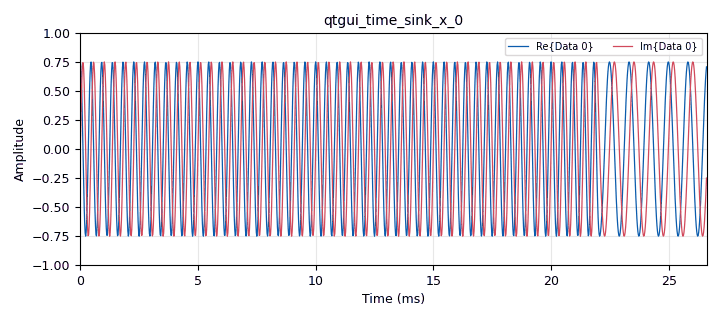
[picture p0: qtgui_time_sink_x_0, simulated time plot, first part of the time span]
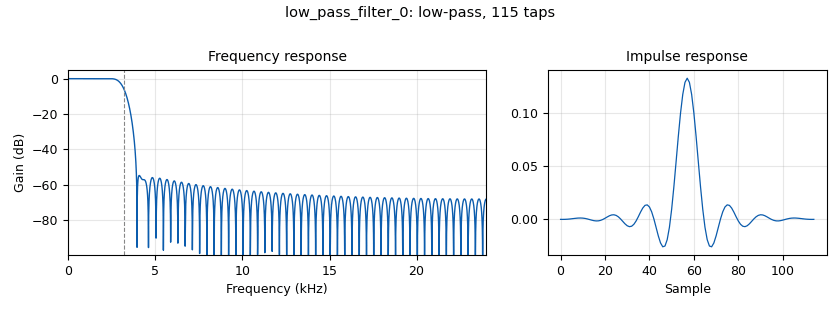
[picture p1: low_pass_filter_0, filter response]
options:
  parameters:
    author: Barry Duggan
    description: packet FSK xmt
    generate_options: qt_gui
    id: pkt_fsk_xmt
    output_language: python
    title: pkt_fsk_xmt
  states: {}

blocks:
- name: baud
  id: variable
  parameters:
    value: '48'
  states: {}
- name: center
  id: variable
  parameters:
    value: (mark+space)/2
  states: {}
- name: hdr_format
  id: variable_header_format_default
  parameters:
    access_code: '11100001010110101110100010010011'
    bps: repeat
    threshold: thresh
  states: {}
- name: inp_amp
  id: variable
  parameters:
    value: (mark/vco_max)-vco_offset
  states: {}
- name: mark
  id: variable
  parameters:
    value: '1200'
  states: {}
- name: repeat
  id: variable
  parameters:
    value: (int)(samp_rate/baud)
  states: {}
- name: rs_ratio
  id: variable
  parameters:
    value: '1.0'
  states: {}
- name: samp_rate
  id: variable
  parameters:
    value: '48000'
  states: {}
- name: space
  id: variable
  parameters:
    value: '2200'
  states: {}
- name: thresh
  id: variable
  parameters:
    value: '1'
  states: {}
- name: usrp_rate
  id: variable
  parameters:
    value: '768000'
  states: {}
- name: vco_max
  id: variable
  parameters:
    value: '2500'
  states: {}
- name: vco_offset
  id: variable
  parameters:
    value: space/vco_max
  states: {}
- name: blocks_add_const_vxx_0
  id: blocks_add_const_vxx
  parameters:
    comment: vco_offset
    const: vco_offset
    type: float
  states: {}
- name: blocks_message_strobe_0
  id: blocks_message_strobe
  parameters:
    msg: pmt.cons(pmt.PMT_NIL,pmt.init_u8vector(9,(71,78,85,32,82,97,100,105,111)))
    period: '5000'
  states: {}
- name: blocks_multiply_const_vxx_0
  id: blocks_multiply_const_vxx
  parameters:
    comment: inp_amp
    const: inp_amp
    type: float
  states: {}
- name: blocks_repack_bits_bb_1_0
  id: blocks_repack_bits_bb
  parameters:
    endianness: gr.GR_MSB_FIRST
    k: '8'
    l: '1'
    len_tag_key: ''
  states: {}
- name: blocks_repeat_0
  id: blocks_repeat
  parameters:
    interp: repeat
    type: byte
  states: {}
- name: blocks_uchar_to_float_0
  id: blocks_uchar_to_float
  parameters: {}
  states: {}
- name: blocks_vco_c_0
  id: blocks_vco_c
  parameters:
    amplitude: '0.75'
    samp_rate: samp_rate
    sensitivity: '15708'
  states: {}
- name: digital_crc32_async_bb_1
  id: digital_crc32_async_bb
  parameters:
    check: 'False'
  states: {}
- name: epy_block_0
  id: epy_block
  parameters:
    _source_code: |
      """
      Embedded Python Block
      """

      import numpy as np
      from gnuradio import gr
      import pmt

      class blk(gr.sync_block):
          """Packet Format"""

          def __init__(self):
              gr.sync_block.__init__(self,
                  name = "Packet Format",
                  in_sig = None,
                  out_sig = None)
              self.message_port_register_in(pmt.intern('PDU_in'))
              self.message_port_register_out(pmt.intern('PDU_out'))
              self.set_msg_handler(pmt.intern('PDU_in'), self.handle_msg)

          def handle_msg(self, msg):
              inMsg = pmt.to_python (msg)
              pld = inMsg[1]
              # print (pld)
              mLen = len(pld)
              # print (mLen)
              if (mLen > 0):
                  char_list = [85,85,85,85,225,90,232,147]
                  char_list.append (mLen >> 8)
                  char_list.append (mLen & 255)
                  char_list.append (mLen >> 8)
                  char_list.append (mLen & 255)
                  char_list.extend (pld)
                  # print (char_list)
                  out_len = len(char_list)
                  # print (out_len)
                  self.message_port_pub(pmt.intern('PDU_out'), pmt.cons(pmt.PMT_NIL,pmt.init_u8vector(out_len,(char_list))))
  states: {}
- name: low_pass_filter_0
  id: low_pass_filter
  parameters:
    cutoff_freq: space+1000
    decim: '1'
    gain: '1'
    samp_rate: samp_rate
    type: fir_filter_fff
    width: '1000'
    win: window.WIN_HAMMING
  states: {}
- name: mmse_resampler_xx_0
  id: mmse_resampler_xx
  parameters:
    phase_shift: '0'
    resamp_ratio: 1.0/((usrp_rate/samp_rate)*rs_ratio)
    type: complex
  states: {}
- name: pdu_pdu_to_tagged_stream_1
  id: pdu_pdu_to_tagged_stream
  parameters:
    tag: packet_len
    type: byte
  states: {}
- name: qtgui_time_sink_x_0
  id: qtgui_time_sink_x
  parameters:
    comment: 2,0
    gui_hint: 2,0,1,3
    size: '32768'
    srate: samp_rate
    tr_mode: qtgui.TRIG_MODE_TAG
    tr_tag: '"packet_len"'
    type: complex
  states: {}
- name: virtual_sink_0
  id: virtual_sink
  parameters:
    stream_id: '"xmt_data"'
  states: {}
- name: virtual_sink_1_0
  id: virtual_sink
  parameters:
    stream_id: pkt_out
  states: {}
- name: virtual_source_0
  id: virtual_source
  parameters:
    stream_id: '"xmt_data"'
  states: {}
- name: virtual_source_1_0
  id: virtual_source
  parameters:
    stream_id: pkt_out
  states: {}
- name: zeromq_pub_sink_0
  id: zeromq_pub_sink
  parameters:
    address: tcp://127.0.0.1:49203
    comment: USRP sample rate = 768kHz
    timeout: '100'
    type: complex
  states: {}

connections:
- [blocks_add_const_vxx_0, '0', blocks_vco_c_0, '0']
- [blocks_message_strobe_0, strobe, digital_crc32_async_bb_1, in]
- [blocks_multiply_const_vxx_0, '0', blocks_add_const_vxx_0, '0']
- [blocks_repack_bits_bb_1_0, '0', blocks_repeat_0, '0']
- [blocks_repeat_0, '0', blocks_uchar_to_float_0, '0']
- [blocks_uchar_to_float_0, '0', virtual_sink_0, '0']
- [blocks_vco_c_0, '0', mmse_resampler_xx_0, '0']
- [blocks_vco_c_0, '0', qtgui_time_sink_x_0, '0']
- [digital_crc32_async_bb_1, out, epy_block_0, PDU_in]
- [epy_block_0, PDU_out, pdu_pdu_to_tagged_stream_1, pdus]
- [low_pass_filter_0, '0', blocks_multiply_const_vxx_0, '0']
- [mmse_resampler_xx_0, '0', zeromq_pub_sink_0, '0']
- [pdu_pdu_to_tagged_stream_1, '0', virtual_sink_1_0, '0']
- [virtual_source_0, '0', low_pass_filter_0, '0']
- [virtual_source_1_0, '0', blocks_repack_bits_bb_1_0, '0']

metadata:
  file_format: 1
